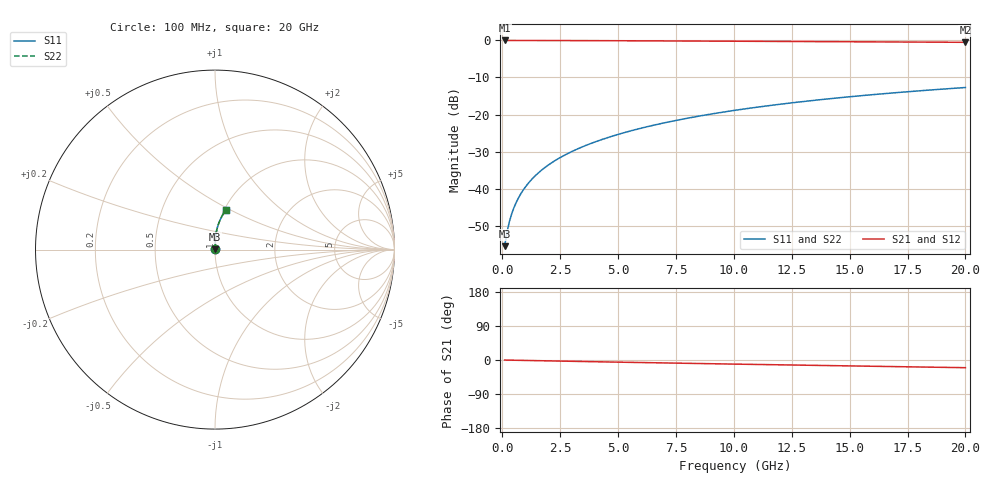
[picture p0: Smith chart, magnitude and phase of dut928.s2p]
! Touchstone file exported from HFSS 2024.1.0
!  File:  C:/UserFiles/LocalFiles/RDL_TSV_Batchsim/temp_RDL_bottom_928_1779941219.aedt
!  Generated:  12:09:57 PM May 28, 2026
!  Design:  RDL_bottom
!  Project:  temp_RDL_bottom_928_1779941219
!  Setup:  Setup1
!  Solution:  Sweep
! Variables:
!  dtsv = 10.80580581um
!  hbump = 3um
!  htsv = 88.34um
!  ldown = 231.7um
!  lrdl = 100um
!  p = 40
!  p1 = 58.35um
!  rhole = 1um
!  t = 450um
!  tdown = 3.52um
!  trdl = 3.915915916um
!  wdown = 22.66um
!  wrdl = 20um
# GHz S MA R 50.000000
! Terminal data exported
! Port[1] = RDL1_T1
! Port[2] = RDL1_T2
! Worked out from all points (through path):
!   200 points, 100 MHz to 20 GHz, reference 50 ohm
!   highest |S21| = -0.01 dB at 100 MHz (marker M1); lowest = -0.5 dB at 20 GHz (marker M2)
!   group delay of S21, straight-line fit = 2.79 ps
!   lowest |S11| = -55.5 dB at 100 MHz (marker M3), VSWR 1.00, Z = 50.1 + j0.112 ohm
!   |S11| at or under -10 dB: start of sweep to end of sweep
!   |S22| runs from -55.5 to -12.7 dB; largest |S21 - S12| = 2.4e-15
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0.1  0.001673 41.7  0.9987 -0.1  0.9987 -0.1  0.001673 41.7
! Gamma 0 0 0 0
! Port Impedance 50 0 50 0
0.2  0.002552 59.4  0.9987 -0.2  0.9987 -0.2  0.002552 59.4
0.3  0.003521 67.5  0.9986 -0.4  0.9986 -0.4  0.003521 67.5
0.4  0.004508 72.0  0.9985 -0.5  0.9985 -0.5  0.004508 72.0
0.5  0.005502 75.0  0.9985 -0.6  0.9985 -0.6  0.005502 75.0
0.6  0.006503 77.2  0.9984 -0.7  0.9984 -0.7  0.006503 77.2
0.8  0.00852 80.1  0.9983 -0.9  0.9983 -0.9  0.00852 80.1
1.1  0.01158 82.7  0.998 -1.3  0.998 -1.3  0.01158 82.7
1.5  0.01571 84.7  0.9976 -1.8  0.9976 -1.8  0.01571 84.7
1.8  0.01884 85.7  0.9972 -2.1  0.9972 -2.1  0.01884 85.7
2.1  0.022 86.3  0.9968 -2.4  0.9968 -2.4  0.022 86.3
2.7  0.02839 87.2  0.9958 -3.1  0.9958 -3.1  0.02839 87.2
3.5  0.03708 87.8  0.9942 -4.0  0.9942 -4.0  0.03708 87.8
4.2  0.04485 88.0  0.9925 -4.8  0.9925 -4.8  0.04485 88.0
5  0.05391 88.0  0.9904 -5.7  0.9904 -5.7  0.05391 88.0
5.9  0.06431 87.7  0.9879 -6.6  0.9879 -6.6  0.06431 87.7
6.8  0.07489 87.3  0.9852 -7.6  0.9852 -7.6  0.07489 87.3
8.4  0.09404 86.2  0.9804 -9.2  0.9804 -9.2  0.09404 86.2
10.1  0.1146 84.7  0.9751 -10.9  0.9751 -10.9  0.1146 84.7
13.4  0.1546 81.4  0.9647 -14.1  0.9647 -14.1  0.1546 81.4
16.7  0.1937 77.9  0.9541 -17.2  0.9541 -17.2  0.1937 77.9
20  0.2315 74.4  0.943 -20.3  0.943 -20.3  0.2314 74.4
